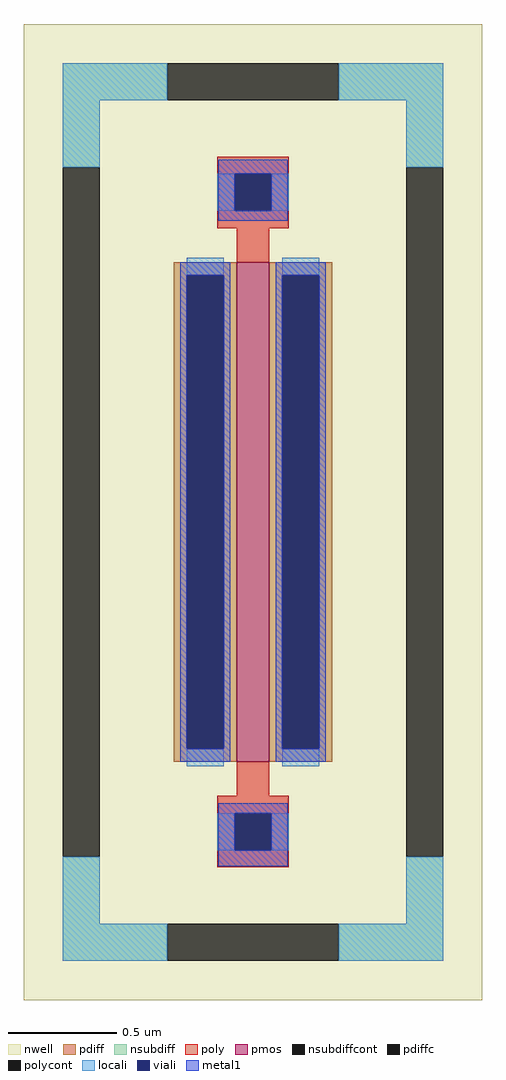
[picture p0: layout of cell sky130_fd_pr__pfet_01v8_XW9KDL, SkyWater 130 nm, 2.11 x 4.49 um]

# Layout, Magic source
magic
tech sky130A
magscale 1 2
<< nwell >>
rect -211 -449 211 449
<< pmos >>
rect -15 -230 15 230
<< pdiff >>
rect -73 218 -15 230
rect -73 -218 -61 218
rect -27 -218 -15 218
rect -73 -230 -15 -218
rect 15 218 73 230
rect 15 -218 27 218
rect 61 -218 73 218
rect 15 -230 73 -218
<< pdiffc >>
rect -61 -218 -27 218
rect 27 -218 61 218
<< nsubdiff >>
rect -175 379 -79 413
rect 79 379 175 413
rect -175 317 -141 379
rect 141 317 175 379
rect -175 -379 -141 -317
rect 141 -379 175 -317
rect -175 -413 -79 -379
rect 79 -413 175 -379
<< nsubdiffcont >>
rect -79 379 79 413
rect -175 -317 -141 317
rect 141 -317 175 317
rect -79 -413 79 -379
<< poly >>
rect -33 311 33 327
rect -33 277 -17 311
rect 17 277 33 311
rect -33 261 33 277
rect -15 230 15 261
rect -15 -261 15 -230
rect -33 -277 33 -261
rect -33 -311 -17 -277
rect 17 -311 33 -277
rect -33 -327 33 -311
<< polycont >>
rect -17 277 17 311
rect -17 -311 17 -277
<< locali >>
rect -175 379 -79 413
rect 79 379 175 413
rect -175 317 -141 379
rect 141 317 175 379
rect -33 277 -17 311
rect 17 277 33 311
rect -61 218 -27 234
rect -61 -234 -27 -218
rect 27 218 61 234
rect 27 -234 61 -218
rect -33 -311 -17 -277
rect 17 -311 33 -277
rect -175 -379 -141 -317
rect 141 -379 175 -317
rect -175 -413 -79 -379
rect 79 -413 175 -379
<< viali >>
rect -17 277 17 311
rect -61 -218 -27 218
rect 27 -218 61 218
rect -17 -311 17 -277
<< metal1 >>
rect -32 311 32 324
rect -32 277 -17 311
rect 17 277 32 311
rect -32 268 32 277
rect -67 218 -21 230
rect -67 -218 -61 218
rect -27 -218 -21 218
rect -67 -230 -21 -218
rect 21 218 67 230
rect 21 -218 27 218
rect 61 -218 67 218
rect 21 -230 67 -218
rect -32 -277 32 -268
rect -32 -311 -17 -277
rect 17 -311 32 -277
rect -32 -326 32 -311
<< properties >>
string FIXED_BBOX -158 -396 158 396
string gencell sky130_fd_pr__pfet_01v8
string library sky130
string parameters w 2.3 l 0.15 m 1 nf 1 diffcov 100 polycov 100 guard 1 glc 1 grc 1 gtc 1 gbc 1 tbcov 100 rlcov 100 topc 1 botc 1 poverlap 0 doverlap 1 lmin 0.15 wmin 0.42 compatible {sky130_fd_pr__pfet_01v8  sky130_fd_pr__pfet_01v8_lvt sky130_fd_pr__pfet_01v8_hvt  sky130_fd_pr__pfet_g5v0d10v5} full_metal 1 viasrc 100 viadrn 100 viagate 100 viagb 0 viagr 0 viagl 0 viagt 0
<< end >>
